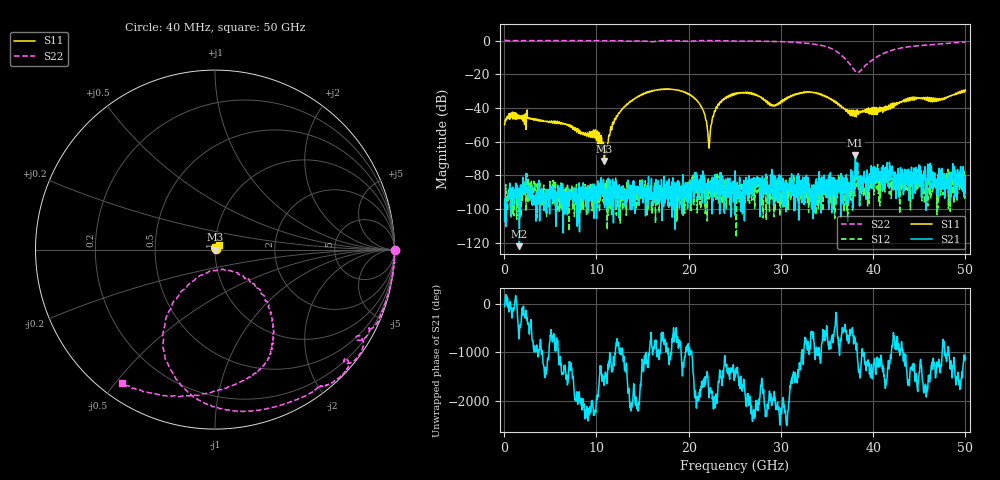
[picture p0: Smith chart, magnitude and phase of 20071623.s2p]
! 10/19/2020 13:25:50
! D:\MS4647AVNA\240M185F 200716XX\20071623.S2P
! CHANNEL.1
! TR.MEASUREMENT
! CORRECTED.DATA
# GHZ S RI R 50.0
! FREQ.GHZ  S11RE  S11IM  S21RE  S21IM  S12RE  S12IM  S22RE  S22IM
!; PortSelection: Port_12
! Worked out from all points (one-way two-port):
!   1250 points, 40 MHz to 50 GHz, reference 50 ohm
!   highest |S21| = -68.03 dB at 38.08 GHz (marker M1); lowest = -122.1 dB at 1.64 GHz (marker M2)
!   lowest |S11| = -71.5 dB at 10.84 GHz (marker M3), VSWR 1.00, Z = 50 + j0.0253 ohm
!   |S11| at or under -10 dB: start of sweep to end of sweep
!   |S22| runs from -19.0 to 0.0 dB; largest |S21 - S12| = 0.00053
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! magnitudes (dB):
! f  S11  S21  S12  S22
! 40 MHz  -50.0  -107.3  -97.1  0.0
! 1.64 GHz  -45.0  -122.1  -106.3  0.0
! 8.4 GHz  -54.4  -93.1  -94.3  0.0
! 10.08 GHz  -53.8  -87.7  -96.1  0.0
! 10.84 GHz  -71.5  -88.0  -89.2  -0.1
! 11.08 GHz  -67.3  -89.3  -84.7  -0.1
! 11.76 GHz  -48.5  -82.3  -87.0  -0.1
! 12.8 GHz  -40.5  -90.3  -90.9  -0.1
! 16.72 GHz  -29.1  -90.9  -96.3  -0.3
! 20.64 GHz  -34.1  -83.8  -77.7  -0.2
! 21.52 GHz  -40.9  -77.5  -82.0  0.0
! 22.2 GHz  -63.8  -84.2  -94.2  0.0
! 23.2 GHz  -37.7  -87.0  -84.3  -0.1
! 25.04 GHz  -31.6  -77.4  -84.6  -0.3
! 26.96 GHz  -31.2  -86.3  -87.9  -0.4
! 29.2 GHz  -38.9  -98.0  -91.4  -0.6
! 33.36 GHz  -30.8  -85.8  -94.2  -2.0
! 35.84 GHz  -35.8  -84.7  -105.5  -5.9
! 38.08 GHz  -41.9  -68.0  -75.5  -18.3
! 38.6 GHz  -43.0  -81.8  -96.5  -17.9
! 41.68 GHz  -39.4  -80.5  -84.0  -6.5
! 50 GHz  -29.3  -80.3  -91.2  -0.8
